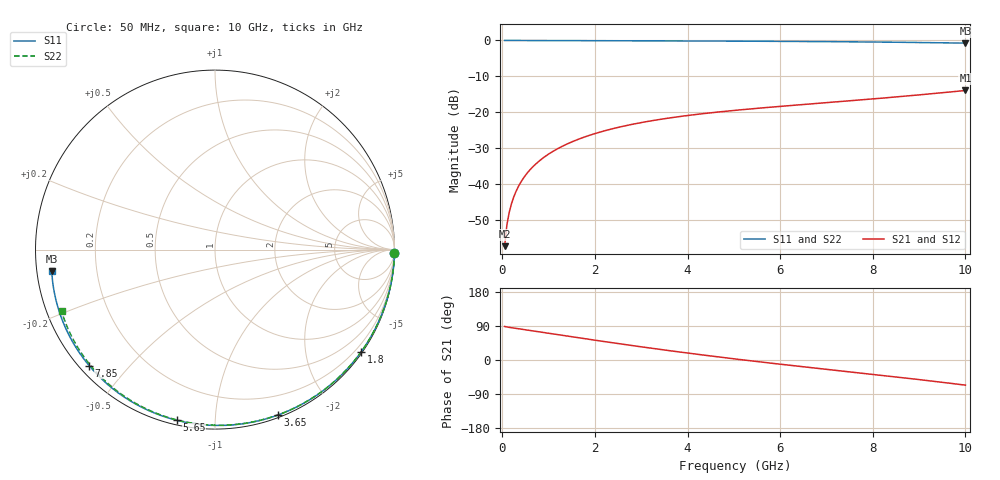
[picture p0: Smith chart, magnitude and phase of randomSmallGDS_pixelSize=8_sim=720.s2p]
! freq	dB(S11)	phase(S11)	dB(S12)	phase(S12)
!  dB(S21)	phase(S21)	dB(S22)	phase(S22)
!S-par simulation data
#  GHz  S  DB  R 50
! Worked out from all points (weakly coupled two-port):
!   200 points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, 50 MHz to 10 GHz, reference 50 ohm
!   highest |S21| = -13.92 dB at 10 GHz (marker M1); lowest = -57.2 dB at 50 MHz (marker M2)
!   lowest |S11| = -0.7 dB at 10 GHz (marker M3), VSWR 23.28, Z = 2.16 - j3.31 ohm
!   |S11| at or under -10 dB: nowhere
!   |S22| runs from -0.7 to 0.0 dB; largest |S21 - S12| = 0
!   S11 on the Smith chart (normalised r, x): 50 MHz: open; 1.8 GHz: 0.03, -3.15; 3.65 GHz: 0.02, -1.45; 5.65 GHz: 0.02, -0.80; 7.85 GHz: 0.03, -0.39; 10 GHz: 0.04, -0.07
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0.05  -0.00 -1.0  -57.22 88.5  -57.22 88.5  -0.00 -0.9
0.1  -0.00 -2.0  -51.26 87.1  -51.26 87.1  -0.00 -1.9
0.15  -0.00 -3.0  -47.80 86.1  -47.80 86.1  -0.00 -2.8
0.2  -0.00 -4.0  -45.35 85.1  -45.35 85.1  -0.00 -3.7
0.35  -0.01 -7.0  -40.57 82.5  -40.57 82.5  -0.01 -6.5
0.5  -0.01 -9.9  -37.52 79.8  -37.52 79.8  -0.01 -9.3
0.7  -0.02 -13.9  -34.64 76.1  -34.64 76.1  -0.02 -12.9
1  -0.03 -19.8  -31.60 70.6  -31.60 70.6  -0.03 -18.4
1.35  -0.04 -26.5  -29.09 64.1  -29.09 64.1  -0.04 -24.7
1.75  -0.05 -34.2  -26.97 56.8  -26.97 56.8  -0.05 -31.9
1.8  -0.05 -35.2  -26.74 55.9  -26.74 55.9  -0.05 -32.8
2.6  -0.08 -50.2  -23.89 41.6  -23.89 41.6  -0.08 -46.8
3.4  -0.11 -64.7  -21.97 28.1  -21.97 28.1  -0.11 -60.3
3.65  -0.12 -69.1  -21.48 24.0  -21.48 24.0  -0.12 -64.5
4.35  -0.15 -81.2  -20.34 12.9  -20.34 12.9  -0.14 -75.8
5.05  -0.19 -92.9  -19.41 2.4  -19.41 2.4  -0.18 -86.7
5.65  -0.22 -102.7  -18.72 -6.2  -18.72 -6.2  -0.21 -95.8
6.7  -0.30 -119.3  -17.62 -20.6  -17.62 -20.6  -0.28 -111.2
7.85  -0.41 -137.3  -16.42 -35.9  -16.42 -35.9  -0.39 -127.5
8.35  -0.47 -145.2  -15.88 -42.7  -15.88 -42.7  -0.45 -134.6
9.2  -0.60 -158.9  -14.90 -54.5  -14.90 -54.5  -0.57 -146.6
10  -0.75 -172.4  -13.92 -66.4  -13.92 -66.4  -0.71 -158.1
